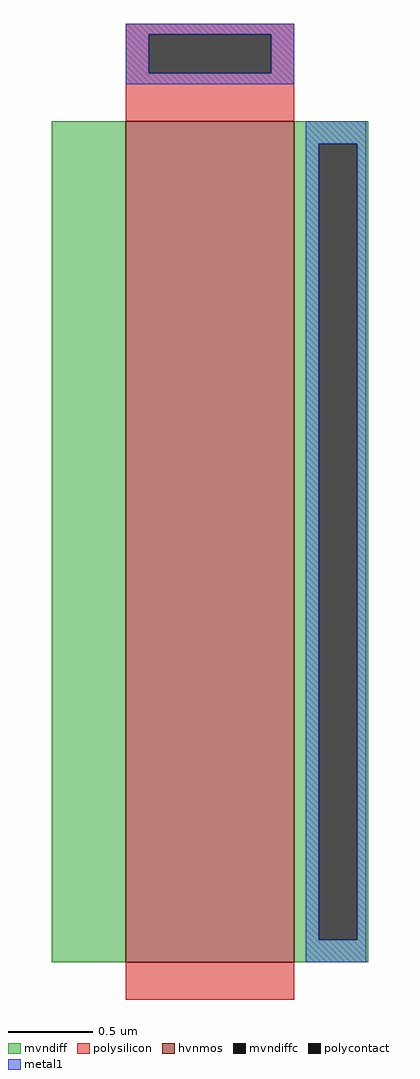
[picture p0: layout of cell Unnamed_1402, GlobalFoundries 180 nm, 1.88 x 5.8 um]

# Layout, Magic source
magic
tech gf180mcuD
magscale 1 10
<< hvnmos >>
rect 14 0 214 1000
<< mvndiff >>
rect -74 0 14 1000
rect 214 973 302 1000
rect 214 27 243 973
rect 289 27 302 973
rect 214 0 302 27
<< mvndiffc >>
rect 243 27 289 973
<< polysilicon >>
rect 14 1103 214 1116
rect 14 1057 41 1103
rect 187 1057 214 1103
rect 14 1000 214 1057
rect 14 -44 214 0
<< polycontact >>
rect 41 1057 187 1103
<< metal1 >>
rect 14 1103 214 1116
rect 14 1057 41 1103
rect 187 1057 214 1103
rect 14 1044 214 1057
rect 228 973 300 1000
rect 228 27 243 973
rect 289 27 300 973
rect 228 0 300 27
<< end >>
